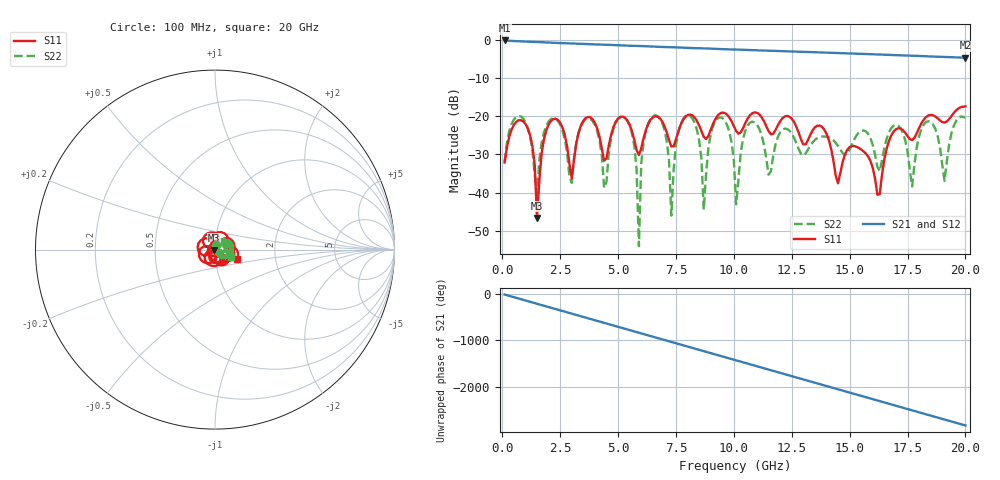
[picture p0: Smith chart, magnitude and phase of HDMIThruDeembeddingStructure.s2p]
! File created by SignalIntegrity v1.4.3: Signal and Power Integrity Tools
! https://github.com/Nubis-Communications/SignalIntegrity
# MHz S MA R 50.0
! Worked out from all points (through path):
!   200 points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, 100 MHz to 20 GHz, reference 50 ohm
!   highest |S21| = -0.20 dB at 100 MHz (marker M1); lowest = -4.7 dB at 20 GHz (marker M2)
!   group delay of S21, straight-line fit = 392 ps
!   lowest |S11| = -46.7 dB at 1.5 GHz (marker M3), VSWR 1.01, Z = 49.6 - j0.236 ohm
!   |S11| at or under -10 dB: start of sweep to end of sweep
!   |S22| runs from -54.0 to -19.8 dB; largest |S21 - S12| = 3.2e-05
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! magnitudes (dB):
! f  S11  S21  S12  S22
! 100 MHz  -32.1  -0.2  -0.2  -31.9
! 1 GHz  -22.0  -0.5  -0.5  -21.5
! 1.5 GHz  -46.7  -0.6  -0.6  -40.1
! 2 GHz  -22.2  -0.8  -0.8  -21.4
! 3 GHz  -36.3  -1.0  -1.0  -37.5
! 3.5 GHz  -21.2  -1.1  -1.1  -21.4
! 4.4 GHz  -31.7  -1.3  -1.3  -38.8
! 5.5 GHz  -22.3  -1.6  -1.6  -22.5
! 5.9 GHz  -30.2  -1.6  -1.6  -54.0
! 6.1 GHz  -25.8  -1.7  -1.7  -26.9
! 6.8 GHz  -20.5  -1.9  -1.9  -20.6
! 7.3 GHz  -27.9  -1.9  -1.9  -46.0
! 8 GHz  -19.7  -2.1  -2.1  -19.8
! 8.7 GHz  -25.4  -2.3  -2.3  -44.4
! 9.4 GHz  -19.3  -2.5  -2.5  -20.3
! 10.1 GHz  -23.9  -2.6  -2.6  -43.0
! 10.7 GHz  -19.8  -2.7  -2.7  -21.7
! 13.4 GHz  -23.7  -3.3  -3.3  -26.9
! 16.2 GHz  -40.5  -3.9  -3.9  -33.3
! 16.7 GHz  -26.5  -4.0  -4.0  -24.2
! 19.1 GHz  -21.7  -4.5  -4.5  -36.9
! 20 GHz  -17.5  -4.7  -4.7  -20.5
